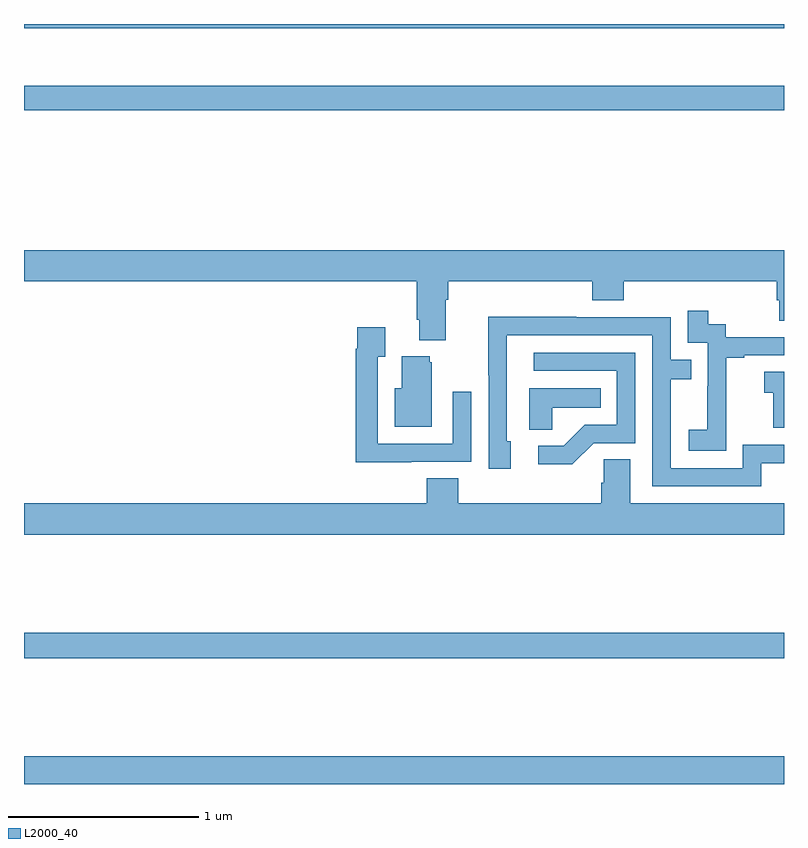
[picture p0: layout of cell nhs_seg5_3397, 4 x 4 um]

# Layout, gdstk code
import gdstk
lib = gdstk.Library(unit=1e-6, precision=1e-09)
def R(c, l, rs):  # rectangles x0, y0, x1, y1
    for r in rs: c.add(gdstk.rectangle(r[:2], r[2:], *l))
def P(c, l, *ps):  # polygons
    for p in ps: c.add(gdstk.Polygon(p, *l))
L2000_40 = (2000, 40)

nhs_seg5_3397 = lib.new_cell('nhs_seg5_3397')
R(nhs_seg5_3397, L2000_40, [(311,836.799,315,836.944), (311,837.46,315,837.596), (311,840.346,315,840.475), (311,840.776,315,840.799)])
P(nhs_seg5_3397, L2000_40, [(313.219,839.348),(313.232,839.348),(313.232,839.444),(313.991,839.444),(313.991,839.345),(314.156,839.345),(314.156,839.444),(314.963,839.444),(314.963,839.346),(314.975,839.346),(314.975,839.236),(315,839.236),(315,839.608),(311,839.608),(311,839.444),(313.067,839.444),(313.067,839.242),(313.079,839.242),(313.079,839.135),(313.219,839.135)],
  [(314.697,838.759),(314.696,838.759),(314.696,839.043),(314.791,839.043),(314.791,839.055),(315,839.055),(315,839.151),(314.694,839.151),(314.694,839.22),(314.602,839.22),(314.602,839.29),(314.493,839.29),(314.493,839.121),(314.598,839.121),(314.598,838.892),(314.597,838.892),(314.597,838.663),(314.499,838.663),(314.499,838.553),(314.697,838.553)],
  [(314.881,838.488),(315,838.488),(315,838.584),(314.784,838.584),(314.784,838.461),(314.403,838.461),(314.403,838.93),(314.513,838.93),(314.513,839.031),(314.403,839.031),(314.403,839.256),(313.907,839.256),(313.907,839.258),(313.444,839.258),(313.444,838.951),(313.446,838.951),(313.446,838.458),(313.561,838.458),(313.561,838.602),(313.542,838.602),(313.542,839.16),(314.307,839.16),(314.307,838.365),(314.881,838.365)],
  [(313.037,838.494),(313.353,838.494),(313.353,838.864),(313.257,838.864),(313.257,838.59),(312.861,838.59),(312.861,839.047),(312.901,839.047),(312.901,839.203),(312.753,839.203),(312.753,839.09),(312.745,839.09),(312.745,838.493),(313.037,838.493)],
  [(313.998,838.593),(314.217,838.593),(314.217,839.07),(313.683,839.07),(313.683,838.974),(314.121,838.974),(314.121,838.689),(313.952,838.689),(313.841,838.578),(313.707,838.578),(313.707,838.481),(313.885,838.481)],
  [(313.147,839.019),(313.136,839.019),(313.136,839.05),(312.989,839.05),(312.989,838.882),(312.95,838.882),(312.95,838.679),(313.147,838.679)],
  [(315,838.969),(314.895,838.969),(314.895,838.859),(314.944,838.859),(314.944,838.674),(315,838.674)],
  [(313.779,838.778),(314.036,838.778),(314.036,838.882),(313.658,838.882),(313.658,838.663),(313.779,838.663)],
  [(315,838.276),(314.191,838.276),(314.191,838.508),(314.052,838.508),(314.052,838.385),(314.039,838.385),(314.039,838.276),(313.286,838.276),(313.286,838.409),(313.121,838.409),(313.121,838.276),(311,838.276),(311,838.112),(315,838.112)])

lib.write_gds('nhs_seg5_3397.gds')
